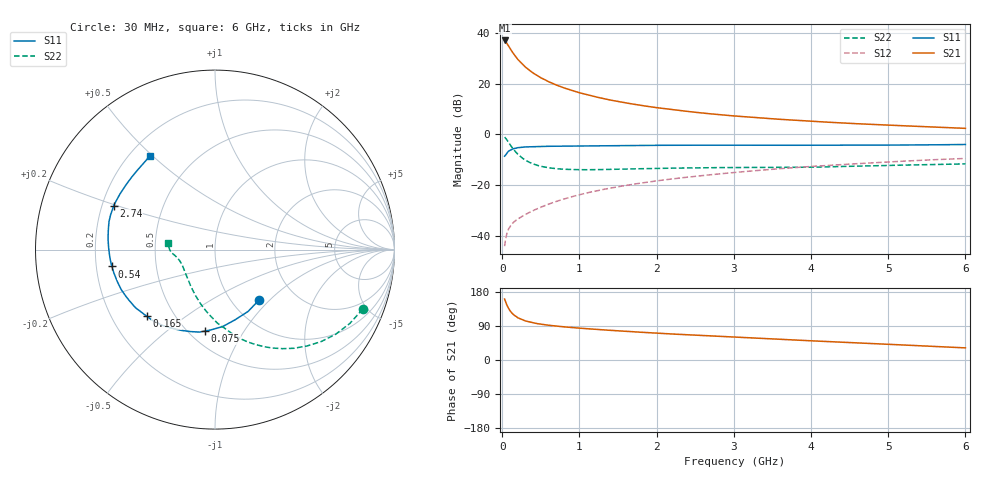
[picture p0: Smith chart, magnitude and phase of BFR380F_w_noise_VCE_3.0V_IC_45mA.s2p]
! Infineon Technologies  Discrete & RF Semiconductors
! BFR380F
! VCE =  3.0 V,  IC =  45 mA
! Common Emitter S-Parameters:  Nov 2015
# GHz  S  MA  R  50
!  f  S11  S21  S12  S22
! GHz  MAG  ANG  MAG  ANG  MAG  ANG  MAG  ANG
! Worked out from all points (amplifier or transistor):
!   206 points, 30 MHz to 6 GHz, reference 50 ohm
!   highest |S21| = 37.0 dB at 30 MHz (marker M1)
!   |S21| within 3 dB of that: start of sweep to 97.44 MHz
!   unconditionally stable (mu >= 1): 903.1 MHz to 4.938 GHz
!   at 200 MHz: K = 0.60, MSG = 31.5 dB, |S12| = -33.4 dB
!   at 1.56 GHz: K = 1.04, MAG = 15.3 dB, |S12| = -20.3 dB
!   at 6 GHz: K = 0.99, MSG = 5.9 dB, |S12| = -9.4 dB
!   lowest NFmin = 1.45 dB at 900 MHz
!   S11 on the Smith chart (normalised r, x): 30 MHz: 1.33, -0.87; 75 MHz: 0.60, -0.69; 165 MHz: 0.35, -0.36; 540 MHz: 0.27, -0.08; 2.74 GHz: 0.25, +0.19; 6 GHz: 0.28, +0.49
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0.03  0.3731 -48.9  71.11 160.8  0.0063 76.9  0.8877 -21.9
0.05  0.4075 -74.4  65.59 149.3  0.0098 70.6  0.8211 -35.1
0.07  0.4483 -93.1  58.85 140.3  0.0124 64.9  0.7419 -46.4
0.075  0.4569 -96.9  57.24 138.5  0.013 63.4  0.722 -48.8
0.1  0.4873 -112.5  49.62 130.1  0.0154 59.4  0.6329 -60.0
0.12  0.506 -121.6  44.43 124.9  0.017 57.5  0.5717 -67.3
0.15  0.5275 -132.2  38.07 118.7  0.0189 56.1  0.4974 -76.4
0.165  0.5316 -135.8  35.67 116.9  0.0197 56.0  0.4691 -79.5
0.2  0.5488 -143.8  30.25 111.5  0.0215 55.8  0.4094 -88.2
0.24  0.5563 -149.7  26.05 107.9  0.0235 56.8  0.3618 -95.4
0.3  0.5679 -156.8  21.2 103.1  0.0265 58.5  0.3109 -105.2
0.4  0.5751 -164.3  16.2 98.0  0.0316 61.6  0.2626 -117.4
0.54  0.5822 -170.7  12.22 93.5  0.0392 64.9  0.2293 -129.7
0.7  0.5875 -175.8  9.418 89.5  0.048 67.4  0.2118 -140.3
1.04  0.5949 176.8  6.393 83.4  0.0673 70.1  0.2022 -153.7
1.4  0.6021 171.3  4.763 78.3  0.0877 70.8  0.2053 -161.4
2.02  0.6117 163.9  3.344 70.7  0.1229 70.1  0.2145 -167.1
2.74  0.615 156.8  2.514 63.0  0.1632 68.2  0.2223 -170.7
3.1  0.6137 153.5  2.258 59.5  0.1835 66.8  0.2235 -171.2
4.1  0.6133 143.7  1.784 49.7  0.2393 62.3  0.2282 -172.3
5.1  0.6183 134.6  1.505 40.5  0.2927 57.4  0.2473 -177.5
6  0.6349 124.9  1.319 32.0  0.337 51.9  0.2636 172.2
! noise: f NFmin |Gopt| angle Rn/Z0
0.45  1.48  0.39  -176  0.08
0.9  1.45  0.41  -175  0.07
1.8  1.65  0.46  -163  0.09
1.9  1.73  0.47  -164  0.09
2.4  1.79  0.48  -154  0.11
3.5  2.39  0.53  -144  0.18
